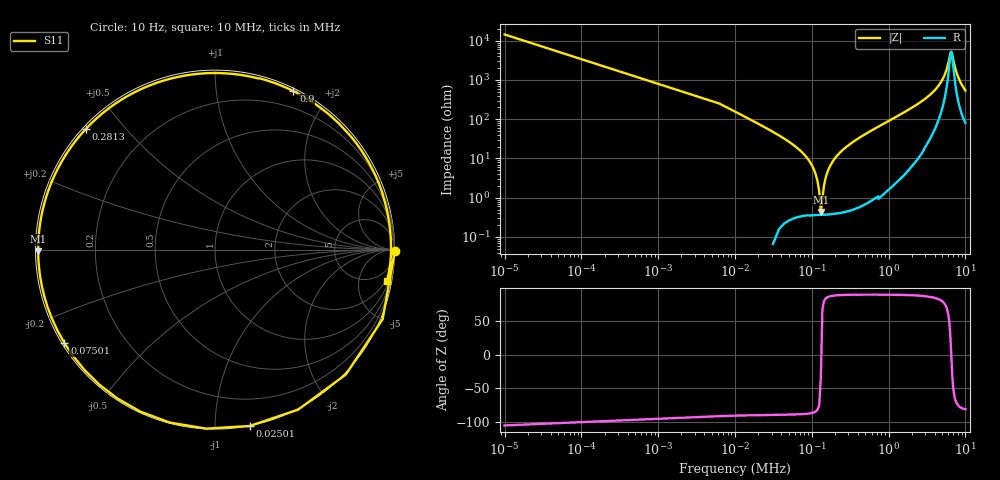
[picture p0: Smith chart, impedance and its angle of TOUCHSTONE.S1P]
!Keysight Technologies,E5061B,MY49912438,B.06.30
!Date: Thu Nov 06 21:49:35 2025
!Data & Calibration Information:
!Freq	S11:SOLT1(ON)
# Hz S dB R 50
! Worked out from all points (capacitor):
!   1601 points, 10 Hz to 10 MHz, reference 50 ohm
!   read as one part to ground: C = 101 nF near 50.01 kHz
!   lowest |Z| = 437 mohm at 131.3 kHz (marker M1)
!   series resonance near 132.6 kHz, so ESL is about 14 uH
!   S11 on the Smith chart (normalised r, x): 10 Hz: open; 25.01 kHz: -0.00, -1.22; 75.01 kHz: 0.01, -0.29; 281.3 kHz: 0.01, +0.39; 900 kHz: 0.03, +1.61; 10 MHz: 2, -11
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10  0.02 -0.4
25009.97  0.01 -78.9
56259.94  -0.08 -130.7
62509.94  -0.09 -137.2
75009.93  -0.11 -148.2
87509.91  -0.12 -157.0
100009.9  -0.12 -164.5
131259.9  -0.13 -179.5
162509.8  -0.13 168.8
200009.8  -0.13 157.2
237509.8  -0.13 147.2
281259.7  -0.13 137.0
331259.7  -0.13 126.7
381259.6  -0.14 117.7
506259.5  -0.14 99.1
687509.3  -0.14 79.5
900009.1  -0.13 63.7
1062509  -0.13 54.9
1250009  -0.13 47.1
1481259  -0.13 39.7
1750008  -0.13 33.3
2500008  -0.14 21.9
3750006  -0.16 11.7
5000005  -0.16 5.6
6250004  -0.16 1.0
7500002  -0.17 -3.0
8750001  -0.20 -6.8
1e7  -0.24 -10.5
